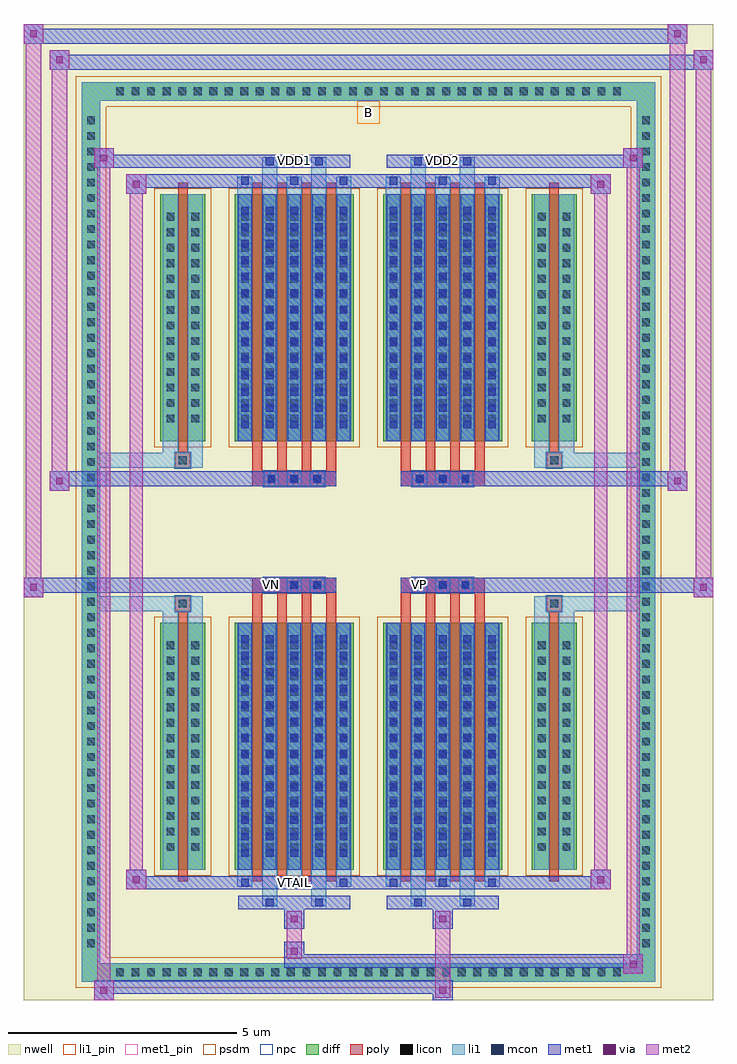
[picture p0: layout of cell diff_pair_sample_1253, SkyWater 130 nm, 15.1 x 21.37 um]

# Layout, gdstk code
import gdstk
lib = gdstk.Library(unit=1e-6, precision=5e-09)
def R(c, l, rs):  # rectangles x0, y0, x1, y1
    for r in rs: c.add(gdstk.rectangle(r[:2], r[2:], *l))
def A(c, l, x, y, w, h, nx, ny, dx, dy):  # array of equal rectangles
    R(c, l, [(x+i*dx, y+j*dy, x+i*dx+w, y+j*dy+h) for i in range(nx) for j in range(ny)])
def P(c, l, *ps):  # polygons
    for p in ps: c.add(gdstk.Polygon(p, *l))
nwell = (64, 20)
diff = (65, 20)
poly = (66, 20)
licon = (66, 44)
li1_pin = (67, 16)
li1 = (67, 20)
mcon = (67, 44)
met1_pin = (68, 16)
met1 = (68, 20)
via = (68, 44)
met2 = (69, 20)
psdm = (94, 20)
npc = (95, 20)

diff_pair_sample_1253 = lib.new_cell('diff_pair_sample_1253')
R(diff_pair_sample_1253, nwell, [(-7.55,-10.25,7.55,11.12), (-4.87,-8.44,-0.01,-0.8), (0.01,-8.44,4.87,-0.8), (-4.87,0.8,-0.01,8.44), (0.01,0.8,4.87,8.44)])
A(diff_pair_sample_1253, diff, -5.645, -9.85, 0.41, 0.41, 33, 2, 0.34, 19.29)
A(diff_pair_sample_1253, diff, -6.28, -9.215, 0.41, 0.41, 1, 54, 0, 0.34)
A(diff_pair_sample_1253, diff, 5.87, -9.215, 0.41, 0.41, 1, 54, 0, 0.34)
R(diff_pair_sample_1253, diff, [(-5.645,-9.85,5.645,-9.44), (-6.28,-9.215,-5.87,9.215), (5.87,-9.215,6.28,9.215), (-4.56,-7.395,-3.57,-1.985), (-2.93,-7.395,-0.32,-1.985), (0.32,-7.395,2.93,-1.985), (3.57,-7.395,4.56,-1.985), (-4.56,1.985,-3.57,7.395), (-2.93,1.985,-0.32,7.395), (0.32,1.985,2.93,7.395), (3.57,1.985,4.56,7.395), (-5.645,9.44,5.645,9.85)])
P(diff_pair_sample_1253, diff, [(6.28,9.85),(-6.28,9.85),(-6.28,-9.44),(-5.87,-9.44),(-5.87,9.44),(5.87,9.44),(5.87,-9.44),(-5.87,-9.44),(-6.28,-9.44),(-6.28,-9.85),(6.28,-9.85)])
A(diff_pair_sample_1253, poly, -2.54, -7.645, 0.21, 5.91, 4, 2, 0.54, 9.38)
A(diff_pair_sample_1253, poly, 0.71, -7.645, 0.21, 5.91, 4, 2, 0.54, 9.38)
A(diff_pair_sample_1253, poly, -2.54, -1.735, 0.21, 0.405, 4, 2, 0.54, 3.065)
A(diff_pair_sample_1253, poly, 0.71, -1.735, 0.21, 0.405, 4, 2, 0.54, 3.065)
A(diff_pair_sample_1253, poly, -2.29, -1.33, 0.33, 0.33, 3, 2, 0.5, 2.33)
A(diff_pair_sample_1253, poly, 0.96, -1.33, 0.33, 0.33, 3, 2, 0.5, 2.33)
R(diff_pair_sample_1253, poly, [(-4.17,-7.645,-3.96,-1.735), (3.96,-7.645,4.17,-1.735), (-4.23,-1.735,-3.9,-1.405), (-4.23,-1.735,-3.9,-1.405), (3.9,-1.735,4.23,-1.405), (3.9,-1.735,4.23,-1.405), (-2.54,-1.33,-0.71,-1), (0.71,-1.33,2.54,-1), (-2.54,1,-0.71,1.33), (0.71,1,2.54,1.33), (-4.23,1.405,-3.9,1.735), (-4.23,1.405,-3.9,1.735), (3.9,1.405,4.23,1.735), (3.9,1.405,4.23,1.735), (-4.17,1.735,-3.96,7.645), (3.96,1.735,4.17,7.645)])
A(diff_pair_sample_1253, licon, -5.525, -9.73, 0.17, 0.17, 33, 2, 0.34, 19.29)
A(diff_pair_sample_1253, licon, -6.16, -9.095, 0.17, 0.17, 1, 54, 0, 0.34)
A(diff_pair_sample_1253, licon, 5.99, -9.095, 0.17, 0.17, 1, 54, 0, 0.34)
A(diff_pair_sample_1253, licon, -4.42, -6.985, 0.17, 0.17, 1, 14, 0, 0.34)
A(diff_pair_sample_1253, licon, -3.88, -6.985, 0.17, 0.17, 1, 14, 0, 0.34)
A(diff_pair_sample_1253, licon, -2.79, -6.985, 0.17, 0.17, 5, 14, 0.54, 0.34)
A(diff_pair_sample_1253, licon, 0.46, -6.985, 0.17, 0.17, 5, 14, 0.54, 0.34)
A(diff_pair_sample_1253, licon, 3.71, -6.985, 0.17, 0.17, 1, 14, 0, 0.34)
A(diff_pair_sample_1253, licon, 4.25, -6.985, 0.17, 0.17, 1, 14, 0, 0.34)
A(diff_pair_sample_1253, licon, -2.21, -1.25, 0.17, 0.17, 3, 2, 0.5, 2.33)
A(diff_pair_sample_1253, licon, 1.04, -1.25, 0.17, 0.17, 3, 2, 0.5, 2.33)
A(diff_pair_sample_1253, licon, -4.42, 2.395, 0.17, 0.17, 1, 14, 0, 0.34)
A(diff_pair_sample_1253, licon, -3.88, 2.395, 0.17, 0.17, 1, 14, 0, 0.34)
A(diff_pair_sample_1253, licon, -2.79, 2.395, 0.17, 0.17, 5, 14, 0.54, 0.34)
A(diff_pair_sample_1253, licon, 0.46, 2.395, 0.17, 0.17, 5, 14, 0.54, 0.34)
A(diff_pair_sample_1253, licon, 3.71, 2.395, 0.17, 0.17, 1, 14, 0, 0.34)
A(diff_pair_sample_1253, licon, 4.25, 2.395, 0.17, 0.17, 1, 14, 0, 0.34)
R(diff_pair_sample_1253, licon, [(-4.15,-1.655,-3.98,-1.485), (3.98,-1.655,4.15,-1.485), (-4.15,1.485,-3.98,1.655), (3.98,1.485,4.15,1.655)])
R(diff_pair_sample_1253, li1_pin, [(-0.25,8.94,0.25,9.44)])
A(diff_pair_sample_1253, li1, -5.605, -9.81, 0.33, 0.33, 33, 2, 0.34, 19.29)
A(diff_pair_sample_1253, li1, -6.24, -9.175, 0.33, 0.33, 1, 54, 0, 0.34)
A(diff_pair_sample_1253, li1, 5.91, -9.175, 0.33, 0.33, 1, 54, 0, 0.34)
A(diff_pair_sample_1253, li1, -2.87, -7.77, 0.33, 0.375, 3, 2, 1.08, 15.165)
A(diff_pair_sample_1253, li1, -2.79, -7.77, 0.17, 0.17, 3, 2, 1.08, 15.37)
A(diff_pair_sample_1253, li1, 0.38, -7.77, 0.33, 0.375, 3, 2, 1.08, 15.165)
A(diff_pair_sample_1253, li1, 0.46, -7.77, 0.17, 0.17, 3, 2, 1.08, 15.37)
A(diff_pair_sample_1253, li1, -2.87, -7.395, 0.33, 5.41, 5, 2, 0.54, 9.38)
A(diff_pair_sample_1253, li1, 0.38, -7.395, 0.33, 5.41, 5, 2, 0.54, 9.38)
A(diff_pair_sample_1253, li1, -2.79, -7.115, 0.17, 0.17, 5, 14, 0.54, 0.36)
A(diff_pair_sample_1253, li1, -2.79, -7.115, 0.17, 4.85, 5, 2, 0.54, 9.38)
A(diff_pair_sample_1253, li1, 0.46, -7.115, 0.17, 0.17, 5, 14, 0.54, 0.36)
A(diff_pair_sample_1253, li1, 0.46, -7.115, 0.17, 4.85, 5, 2, 0.54, 9.38)
A(diff_pair_sample_1253, li1, -4.5, -7.065, 0.33, 0.33, 1, 14, 0, 0.34)
A(diff_pair_sample_1253, li1, -3.96, -7.065, 0.33, 0.33, 1, 14, 0, 0.34)
A(diff_pair_sample_1253, li1, -2.87, -7.065, 0.33, 0.33, 5, 14, 0.54, 0.34)
A(diff_pair_sample_1253, li1, 0.38, -7.065, 0.33, 0.33, 5, 14, 0.54, 0.34)
A(diff_pair_sample_1253, li1, 3.63, -7.065, 0.33, 0.33, 1, 14, 0, 0.34)
A(diff_pair_sample_1253, li1, 4.17, -7.065, 0.33, 0.33, 1, 14, 0, 0.34)
A(diff_pair_sample_1253, li1, -2.29, -1.33, 0.33, 0.33, 3, 2, 0.5, 2.33)
A(diff_pair_sample_1253, li1, 0.96, -1.33, 0.33, 0.33, 3, 2, 0.5, 2.33)
A(diff_pair_sample_1253, li1, -2.79, 2.265, 0.17, 0.17, 5, 14, 0.54, 0.36)
A(diff_pair_sample_1253, li1, 0.46, 2.265, 0.17, 0.17, 5, 14, 0.54, 0.36)
A(diff_pair_sample_1253, li1, -4.5, 2.315, 0.33, 0.33, 1, 14, 0, 0.34)
A(diff_pair_sample_1253, li1, -3.96, 2.315, 0.33, 0.33, 1, 14, 0, 0.34)
A(diff_pair_sample_1253, li1, -2.87, 2.315, 0.33, 0.33, 5, 14, 0.54, 0.34)
A(diff_pair_sample_1253, li1, 0.38, 2.315, 0.33, 0.33, 5, 14, 0.54, 0.34)
A(diff_pair_sample_1253, li1, 3.63, 2.315, 0.33, 0.33, 1, 14, 0, 0.34)
A(diff_pair_sample_1253, li1, 4.17, 2.315, 0.33, 0.33, 1, 14, 0, 0.34)
R(diff_pair_sample_1253, li1, [(-6.28,-9.85,-5.87,-9.44), (-6.28,-9.85,-5.87,-9.44), (-5.87,-9.85,5.87,-9.44), (5.87,-9.85,6.28,-9.44), (5.87,-9.85,6.28,-9.44), (-6.28,-9.44,-5.87,9.44), (5.87,-9.44,6.28,9.44), (-2.33,-8.2,-2,-7.395), (-2.25,-8.2,-2.08,-8.03), (-1.25,-8.2,-0.92,-7.395), (-1.17,-8.2,-1,-8.03), (0.92,-8.2,1.25,-7.395), (1,-8.2,1.17,-8.03), (2,-8.2,2.33,-7.395), (2.08,-8.2,2.25,-8.03), (-4.5,-7.395,-4.17,-1.985), (-3.96,-7.395,-3.63,-1.985), (3.63,-7.395,3.96,-1.985), (4.17,-7.395,4.5,-1.985), (-4.5,-1.985,-4.17,-1.405), (-3.96,-1.985,-3.63,-1.405), (3.63,-1.985,3.96,-1.405), (4.17,-1.985,4.5,-1.405), (-6.28,-1.735,-4.23,-1.405), (-4.5,-1.735,-4.23,-1.405), (-4.23,-1.735,-3.9,-1.405), (-3.9,-1.735,-3.63,-1.405), (3.63,-1.735,3.9,-1.405), (3.9,-1.735,4.23,-1.405), (3.9,-1.735,6.28,-1.405), (4.23,-1.735,4.5,-1.405), (-6.28,1.405,-4.23,1.735), (-4.5,1.405,-4.23,1.735), (-4.5,1.405,-4.17,1.985), (-4.23,1.405,-3.9,1.735), (-3.96,1.405,-3.63,1.985), (-3.9,1.405,-3.63,1.735), (3.63,1.405,3.9,1.735), (3.63,1.405,3.96,1.985), (3.9,1.405,4.23,1.735), (3.9,1.405,6.28,1.735), (4.17,1.405,4.5,1.985), (4.23,1.405,4.5,1.735), (-4.5,1.985,-4.17,7.395), (-3.96,1.985,-3.63,7.395), (3.63,1.985,3.96,7.395), (4.17,1.985,4.5,7.395), (-2.33,7.395,-2,8.2), (-1.25,7.395,-0.92,8.2), (0.92,7.395,1.25,8.2), (2,7.395,2.33,8.2), (-2.25,8.03,-2.08,8.2), (-1.17,8.03,-1,8.2), (1,8.03,1.17,8.2), (2.08,8.03,2.25,8.2), (-6.28,9.44,-5.87,9.85), (-6.28,9.44,-5.87,9.85), (-5.87,9.44,5.87,9.85), (5.87,9.44,6.28,9.85), (5.87,9.44,6.28,9.85)])
A(diff_pair_sample_1253, mcon, -2.79, -7.77, 0.17, 0.17, 3, 2, 1.08, 15.37)
A(diff_pair_sample_1253, mcon, 0.46, -7.77, 0.17, 0.17, 3, 2, 1.08, 15.37)
A(diff_pair_sample_1253, mcon, -2.79, -7.115, 0.17, 0.17, 5, 14, 0.54, 0.36)
A(diff_pair_sample_1253, mcon, 0.46, -7.115, 0.17, 0.17, 5, 14, 0.54, 0.36)
A(diff_pair_sample_1253, mcon, -2.21, -1.25, 0.17, 0.17, 3, 2, 0.5, 2.33)
A(diff_pair_sample_1253, mcon, 1.04, -1.25, 0.17, 0.17, 3, 2, 0.5, 2.33)
A(diff_pair_sample_1253, mcon, -2.79, 2.265, 0.17, 0.17, 5, 14, 0.54, 0.36)
A(diff_pair_sample_1253, mcon, 0.46, 2.265, 0.17, 0.17, 5, 14, 0.54, 0.36)
R(diff_pair_sample_1253, mcon, [(-2.25,-8.2,-2.08,-8.03), (-1.17,-8.2,-1,-8.03), (1,-8.2,1.17,-8.03), (2.08,-8.2,2.25,-8.03), (-2.25,8.03,-2.08,8.2), (-1.17,8.03,-1,8.2), (1,8.03,1.17,8.2), (2.08,8.03,2.25,8.2)])
R(diff_pair_sample_1253, met1_pin, [(-1.76,-7.81,-1.49,-7.54), (-2.26,-1.29,-1.99,-1.02), (0.99,-1.29,1.26,-1.02), (-1.76,7.99,-1.49,8.26), (1.49,7.99,1.76,8.26)])
A(diff_pair_sample_1253, met1, -2.85, -7.83, 0.29, 0.29, 3, 2, 1.08, 15.37)
A(diff_pair_sample_1253, met1, 0.4, -7.83, 0.29, 0.29, 3, 2, 1.08, 15.37)
A(diff_pair_sample_1253, met1, -2.85, -7.395, 0.29, 5.41, 5, 2, 0.54, 9.38)
A(diff_pair_sample_1253, met1, 0.4, -7.395, 0.29, 5.41, 5, 2, 0.54, 9.38)
A(diff_pair_sample_1253, met1, -2.85, -7.175, 0.29, 0.29, 5, 14, 0.54, 0.36)
A(diff_pair_sample_1253, met1, 0.4, -7.175, 0.29, 0.29, 5, 14, 0.54, 0.36)
A(diff_pair_sample_1253, met1, -2.27, -1.31, 0.29, 0.29, 3, 2, 0.5, 2.33)
A(diff_pair_sample_1253, met1, 0.98, -1.31, 0.29, 0.29, 3, 2, 0.5, 2.33)
A(diff_pair_sample_1253, met1, -2.85, 2.205, 0.29, 0.29, 5, 14, 0.54, 0.36)
A(diff_pair_sample_1253, met1, 0.4, 2.205, 0.29, 0.29, 5, 14, 0.54, 0.36)
R(diff_pair_sample_1253, met1, [(-6.01,-10.25,-5.58,-9.82), (1.41,-10.25,1.84,-9.82), (-6.01,-10.11,1.84,-9.82), (5.58,-9.68,6.01,-9.25), (-1.84,-9.54,6.01,-9.25), (-1.84,-9.4,-1.41,-8.97), (-1.84,-8.69,-1.41,-8.26), (1.41,-8.69,1.84,-8.26), (-2.85,-8.26,-0.4,-7.97), (-2.31,-8.26,-2.02,-7.97), (-1.23,-8.26,-0.94,-7.97), (0.4,-8.26,2.85,-7.97), (0.94,-8.26,1.23,-7.97), (2.02,-8.26,2.31,-7.97), (-5.3,-7.83,-2.85,-7.54), (-5.3,-7.83,-4.87,-7.4), (-2.85,-7.83,-0.4,-7.54), (-0.4,-7.83,0.4,-7.54), (0.4,-7.83,2.85,-7.54), (2.85,-7.83,5.3,-7.54), (4.87,-7.83,5.3,-7.4), (-7.55,-1.43,-7.12,-1), (7.12,-1.43,7.55,-1), (-7.55,-1.33,-0.71,-1), (-2.54,-1.33,-0.71,-1), (0.71,-1.33,2.54,-1), (0.71,-1.33,7.55,-1), (-6.98,0.9,-6.55,1.33), (6.55,0.9,6.98,1.33), (-6.98,1,-2.54,1.33), (-2.54,1,-0.71,1.33), (0.71,1,2.54,1.33), (2.54,1,6.98,1.33), (-5.3,7.4,-4.87,7.83), (4.87,7.4,5.3,7.83), (-5.3,7.54,-2.85,7.83), (-2.85,7.54,-0.4,7.83), (-0.4,7.54,0.4,7.83), (0.4,7.54,2.85,7.83), (2.85,7.54,5.3,7.83), (-6.01,7.97,-5.58,8.4), (-6.01,7.97,-2.85,8.26), (-2.85,7.97,-0.4,8.26), (-2.31,7.97,-2.02,8.26), (-1.23,7.97,-0.94,8.26), (0.4,7.97,2.85,8.26), (0.94,7.97,1.23,8.26), (2.02,7.97,2.31,8.26), (2.85,7.97,6.01,8.26), (5.58,7.97,6.01,8.4), (-6.98,10.12,-6.55,10.55), (-6.98,10.12,-4.87,10.45), (-4.87,10.12,4.87,10.45), (4.87,10.12,7.55,10.45), (7.12,10.12,7.55,10.55), (-7.55,10.69,-7.12,11.12), (-7.55,10.69,-4.87,11.02), (-4.87,10.69,4.87,11.02), (4.87,10.69,6.98,11.02), (6.55,10.69,6.98,11.12)])
R(diff_pair_sample_1253, via, [(-5.87,-10.11,-5.72,-9.96), (1.55,-10.11,1.7,-9.96), (5.72,-9.54,5.87,-9.39), (-1.7,-9.26,-1.55,-9.11), (-1.7,-8.55,-1.55,-8.4), (1.55,-8.55,1.7,-8.4), (-5.16,-7.69,-5.01,-7.54), (5.01,-7.69,5.16,-7.54), (-7.41,-1.29,-7.26,-1.14), (7.26,-1.29,7.41,-1.14), (-6.84,1.04,-6.69,1.19), (6.69,1.04,6.84,1.19), (-5.16,7.54,-5.01,7.69), (5.01,7.54,5.16,7.69), (-5.87,8.11,-5.72,8.26), (5.72,8.11,5.87,8.26), (-6.84,10.26,-6.69,10.41), (7.26,10.26,7.41,10.41), (-7.41,10.83,-7.26,10.98), (6.69,10.83,6.84,10.98)])
R(diff_pair_sample_1253, met2, [(-6.01,-10.25,-5.58,-9.82), (-5.94,-10.25,-5.65,8.4), (-5.65,-10.25,-5.58,-9.82), (-5.96,-10.2,-5.63,-9.87), (1.46,-10.2,1.79,-9.87), (1.46,-9.87,1.79,-8.64), (5.58,-9.68,6.01,-9.25), (5.65,-9.68,5.94,8.4), (5.94,-9.68,6.01,-9.25), (5.63,-9.63,5.96,-9.3), (-1.79,-9.35,-1.46,-9.02), (-1.79,-9.02,-1.46,-8.64), (-1.79,-8.64,-1.46,-8.31), (1.46,-8.64,1.79,-8.31), (-5.3,-7.83,-4.87,-7.4), (-5.23,-7.83,-4.94,7.83), (-4.94,-7.83,-4.87,-7.4), (4.87,-7.83,5.3,-7.4), (4.94,-7.83,5.23,7.83), (5.23,-7.83,5.3,-7.4), (-5.25,-7.78,-4.92,-7.45), (4.92,-7.78,5.25,-7.45), (-7.55,-1.43,-7.12,-1), (-7.5,-1.43,-7.17,11.12), (-7.17,-1.43,-7.12,-1), (7.12,-1.43,7.55,-1), (7.17,-1.43,7.5,10.55), (7.5,-1.43,7.55,-1), (-7.5,-1.38,-7.17,-1.05), (7.17,-1.38,7.5,-1.05), (-6.98,0.9,-6.55,1.33), (-6.93,0.9,-6.6,10.55), (-6.6,0.9,-6.55,1.33), (6.55,0.9,6.98,1.33), (6.6,0.9,6.93,11.12), (6.93,0.9,6.98,1.33), (-6.93,0.95,-6.6,1.28), (6.6,0.95,6.93,1.28), (-5.3,7.4,-4.87,7.83), (-4.94,7.4,-4.87,7.83), (4.87,7.4,5.3,7.83), (5.23,7.4,5.3,7.83), (-5.25,7.45,-4.92,7.78), (4.92,7.45,5.25,7.78), (-6.01,7.97,-5.58,8.4), (-5.65,7.97,-5.58,8.4), (5.58,7.97,6.01,8.4), (5.94,7.97,6.01,8.4), (-5.96,8.02,-5.63,8.35), (5.63,8.02,5.96,8.35), (-6.98,10.12,-6.55,10.55), (-6.6,10.12,-6.55,10.55), (7.12,10.12,7.55,10.55), (7.5,10.12,7.55,10.55), (-6.93,10.17,-6.6,10.5), (7.17,10.17,7.5,10.5), (-7.55,10.69,-7.12,11.12), (-7.17,10.69,-7.12,11.12), (6.55,10.69,6.98,11.12), (6.93,10.69,6.98,11.12), (-7.5,10.74,-7.17,11.07), (6.6,10.74,6.93,11.07)])
R(diff_pair_sample_1253, psdm, [(-4.69,-7.525,-3.44,-1.855), (-3.06,-7.525,-0.19,-1.855), (0.19,-7.525,3.06,-1.855), (3.44,-7.525,4.69,-1.855), (-4.69,1.855,-3.44,7.525), (-3.06,1.855,-0.19,7.525), (0.19,1.855,3.06,7.525), (3.44,1.855,4.69,7.525)])
P(diff_pair_sample_1253, psdm, [(6.41,9.98),(-6.41,9.98),(-6.41,-9.31),(-5.74,-9.31),(-5.74,9.31),(5.74,9.31),(5.74,-9.31),(-5.74,-9.31),(-6.41,-9.31),(-6.41,-9.98),(6.41,-9.98)])
A(diff_pair_sample_1253, npc, -2.31, -1.35, 0.37, 0.37, 3, 2, 0.5, 2.33)
A(diff_pair_sample_1253, npc, 0.94, -1.35, 0.37, 0.37, 3, 2, 0.5, 2.33)
R(diff_pair_sample_1253, npc, [(-4.25,-1.755,-3.88,-1.385), (3.88,-1.755,4.25,-1.385), (-2.31,-1.35,-1.44,-0.98), (-2.31,-1.35,-1.44,-0.98), (-1.81,-1.35,-0.94,-0.98), (-1.81,-1.35,-0.94,-0.98), (0.94,-1.35,1.81,-0.98), (0.94,-1.35,1.81,-0.98), (1.44,-1.35,2.31,-0.98), (1.44,-1.35,2.31,-0.98), (-2.31,0.98,-1.44,1.35), (-2.31,0.98,-1.44,1.35), (-1.81,0.98,-0.94,1.35), (-1.81,0.98,-0.94,1.35), (0.94,0.98,1.81,1.35), (0.94,0.98,1.81,1.35), (1.44,0.98,2.31,1.35), (1.44,0.98,2.31,1.35), (-4.25,1.385,-3.88,1.755), (3.88,1.385,4.25,1.755)])
diff_pair_sample_1253.add(gdstk.Label('VTAIL', (-1.625,-7.675), layer=68, texttype=5))
diff_pair_sample_1253.add(gdstk.Label('VN', (-2.125,-1.155), layer=68, texttype=5))
diff_pair_sample_1253.add(gdstk.Label('VP', (1.125,-1.155), layer=68, texttype=5))
diff_pair_sample_1253.add(gdstk.Label('B', (0,9.19), layer=67, texttype=5))
diff_pair_sample_1253.add(gdstk.Label('VDD2', (1.625,8.125), layer=68, texttype=5))
diff_pair_sample_1253.add(gdstk.Label('VDD1', (-1.625,8.125), layer=68, texttype=5))

lib.write_gds('diff_pair_sample_1253.gds')
